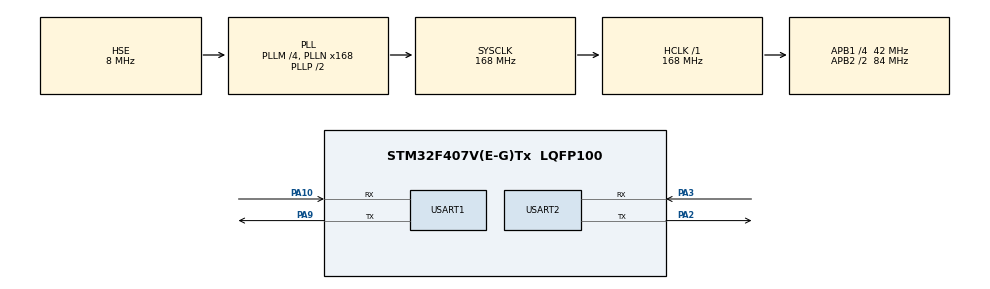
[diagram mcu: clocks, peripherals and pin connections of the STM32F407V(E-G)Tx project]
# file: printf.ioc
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Mcu.Family=STM32F4
Mcu.Name=STM32F407V(E-G)Tx
Mcu.Package=LQFP100
NVIC.PriorityGroup=NVIC_PRIORITYGROUP_4
NVIC.USART1_IRQn=true\:0\:0\:false\:false\:true\:true\:true
PA10.Mode=Asynchronous
PA10.Signal=USART1_RX
PA13.Mode=Serial_Wire
PA13.Signal=SYS_JTMS-SWDIO
PA14.Mode=Serial_Wire
PA14.Signal=SYS_JTCK-SWCLK
PA2.Mode=Asynchronous
PA2.Signal=USART2_TX
PA3.Mode=Asynchronous
PA3.Signal=USART2_RX
PA9.Mode=Asynchronous
PA9.Signal=USART1_TX
PH0-OSC_IN.Mode=HSE-External-Oscillator
PH0-OSC_IN.Signal=RCC_OSC_IN
PH1-OSC_OUT.Mode=HSE-External-Oscillator
PH1-OSC_OUT.Signal=RCC_OSC_OUT
ProjectManager.HeapSize=0x200
ProjectManager.StackSize=0x400
ProjectManager.TargetToolchain=MDK-ARM V5.32
RCC.48MHZClocksFreq_Value=84000000
RCC.AHBFreq_Value=168000000
RCC.APB1CLKDivider=RCC_HCLK_DIV4
RCC.APB1Freq_Value=42000000
RCC.APB1TimFreq_Value=84000000
RCC.APB2CLKDivider=RCC_HCLK_DIV2
RCC.APB2Freq_Value=84000000
RCC.APB2TimFreq_Value=168000000
RCC.CortexFreq_Value=168000000
RCC.HCLKFreq_Value=168000000
RCC.HSE_VALUE=8000000
RCC.HSI_VALUE=16000000
RCC.LSE_VALUE=32768
RCC.PLLM=4
RCC.PLLN=168
RCC.PLLSourceVirtual=RCC_PLLSOURCE_HSE
RCC.SYSCLKFreq_VALUE=168000000
RCC.SYSCLKSource=RCC_SYSCLKSOURCE_PLLCLK
RCC.VCOOutputFreq_Value=336000000
USART1.VirtualMode=VM_ASYNC
USART2.VirtualMode=VM_ASYNC
board=custom

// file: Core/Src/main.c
/* USER CODE BEGIN Header */
/**
  ******************************************************************************
  * @file           : main.c
  * @brief          : Main program body
  ******************************************************************************
  * @attention
  *
  * <h2><center>&copy; Copyright (c) 2022 STMicroelectronics.
  * All rights reserved.</center></h2>
  *
  * This software component is licensed by ST under BSD 3-Clause license,
  * the "License"; You may not use this file except in compliance with the
  * License. You may obtain a copy of the License at:
  *                        opensource.org/licenses/BSD-3-Clause
  *
  ******************************************************************************
  */
/* USER CODE END Header */
#include "main.h"
#include "usart.h"
#include "gpio.h"

/* USER CODE BEGIN Includes */
#include "stdio.h"
/* USER CODE END Includes */

/* USER CODE BEGIN PTD */
/* CRC 高位字节值表 */
const uint8_t auchCRCHi[] = {
 0x00, 0xC1, 0x81, 0x40, 0x01, 0xC0, 0x80, 0x41, 0x01, 0xC0,
 0x80, 0x41, 0x00, 0xC1, 0x81, 0x40, 0x01, 0xC0, 0x80, 0x41,
 0x00, 0xC1, 0x81, 0x40, 0x00, 0xC1, 0x81, 0x40, 0x01, 0xC0,
 0x80, 0x41, 0x01, 0xC0, 0x80, 0x41, 0x00, 0xC1, 0x81, 0x40,
 0x00, 0xC1, 0x81, 0x40, 0x01, 0xC0, 0x80, 0x41, 0x00, 0xC1,
 0x81, 0x40, 0x01, 0xC0, 0x80, 0x41, 0x01, 0xC0, 0x80, 0x41,
 0x00, 0xC1, 0x81, 0x40, 0x01, 0xC0, 0x80, 0x41, 0x00, 0xC1,
 0x81, 0x40, 0x00, 0xC1, 0x81, 0x40, 0x01, 0xC0, 0x80, 0x41,
 0x00, 0xC1, 0x81, 0x40, 0x01, 0xC0, 0x80, 0x41, 0x01, 0xC0,
 0x80, 0x41, 0x00, 0xC1, 0x81, 0x40, 0x00, 0xC1, 0x81, 0x40,
 0x01, 0xC0, 0x80, 0x41, 0x01, 0xC0, 0x80, 0x41, 0x00, 0xC1,
 0x81, 0x40, 0x01, 0xC0, 0x80, 0x41, 0x00, 0xC1, 0x81, 0x40,
 0x00, 0xC1, 0x81, 0x40, 0x01, 0xC0, 0x80, 0x41, 0x01, 0xC0,
 0x80, 0x41, 0x00, 0xC1, 0x81, 0x40, 0x00, 0xC1, 0x81, 0x40,
 0x01, 0xC0, 0x80, 0x41, 0x00, 0xC1, 0x81, 0x40, 0x01, 0xC0,
 0x80, 0x41, 0x01, 0xC0, 0x80, 0x41, 0x00, 0xC1, 0x81, 0x40,
 0x00, 0xC1, 0x81, 0x40, 0x01, 0xC0, 0x80, 0x41, 0x01, 0xC0,
 0x80, 0x41, 0x00, 0xC1, 0x81, 0x40, 0x01, 0xC0, 0x80, 0x41,
 0x00, 0xC1, 0x81, 0x40, 0x00, 0xC1, 0x81, 0x40, 0x01, 0xC0,
 0x80, 0x41, 0x00, 0xC1, 0x81, 0x40, 0x01, 0xC0, 0x80, 0x41,
 0x01, 0xC0, 0x80, 0x41, 0x00, 0xC1, 0x81, 0x40, 0x01, 0xC0,
 0x80, 0x41, 0x00, 0xC1, 0x81, 0x40, 0x00, 0xC1, 0x81, 0x40,
 0x01, 0xC0, 0x80, 0x41, 0x01, 0xC0, 0x80, 0x41, 0x00, 0xC1,
 0x81, 0x40, 0x00, 0xC1, 0x81, 0x40, 0x01, 0xC0, 0x80, 0x41,
 0x00, 0xC1, 0x81, 0x40, 0x01, 0xC0, 0x80, 0x41, 0x01, 0xC0,
 0x80, 0x41, 0x00, 0xC1, 0x81, 0x40
} ;
/* CRC 低位字节值表*/
const uint8_t auchCRCLo[] = {
 0x00, 0xC0, 0xC1, 0x01, 0xC3, 0x03, 0x02, 0xC2, 0xC6, 0x06,
 0x07, 0xC7, 0x05, 0xC5, 0xC4, 0x04, 0xCC, 0x0C, 0x0D, 0xCD,
 0x0F, 0xCF, 0xCE, 0x0E, 0x0A, 0xCA, 0xCB, 0x0B, 0xC9, 0x09,
 0x08, 0xC8, 0xD8, 0x18, 0x19, 0xD9, 0x1B, 0xDB, 0xDA, 0x1A,
 0x1E, 0xDE, 0xDF, 0x1F, 0xDD, 0x1D, 0x1C, 0xDC, 0x14, 0xD4,
 0xD5, 0x15, 0xD7, 0x17, 0x16, 0xD6, 0xD2, 0x12, 0x13, 0xD3,
 0x11, 0xD1, 0xD0, 0x10, 0xF0, 0x30, 0x31, 0xF1, 0x33, 0xF3,
 0xF2, 0x32, 0x36, 0xF6, 0xF7, 0x37, 0xF5, 0x35, 0x34, 0xF4,
 0x3C, 0xFC, 0xFD, 0x3D, 0xFF, 0x3F, 0x3E, 0xFE, 0xFA, 0x3A,
 0x3B, 0xFB, 0x39, 0xF9, 0xF8, 0x38, 0x28, 0xE8, 0xE9, 0x29,
 0xEB, 0x2B, 0x2A, 0xEA, 0xEE, 0x2E, 0x2F, 0xEF, 0x2D, 0xED,
 0xEC, 0x2C, 0xE4, 0x24, 0x25, 0xE5, 0x27, 0xE7, 0xE6, 0x26,
 0x22, 0xE2, 0xE3, 0x23, 0xE1, 0x21, 0x20, 0xE0, 0xA0, 0x60,
 0x61, 0xA1, 0x63, 0xA3, 0xA2, 0x62, 0x66, 0xA6, 0xA7, 0x67,
 0xA5, 0x65, 0x64, 0xA4, 0x6C, 0xAC, 0xAD, 0x6D, 0xAF, 0x6F,
 0x6E, 0xAE, 0xAA, 0x6A, 0x6B, 0xAB, 0x69, 0xA9, 0xA8, 0x68,
 0x78, 0xB8, 0xB9, 0x79, 0xBB, 0x7B, 0x7A, 0xBA, 0xBE, 0x7E,
 0x7F, 0xBF, 0x7D, 0xBD, 0xBC, 0x7C, 0xB4, 0x74, 0x75, 0xB5,
 0x77, 0xB7, 0xB6, 0x76, 0x72, 0xB2, 0xB3, 0x73, 0xB1, 0x71,
 0x70, 0xB0, 0x50, 0x90, 0x91, 0x51, 0x93, 0x53, 0x52, 0x92,
 0x96, 0x56, 0x57, 0x97, 0x55, 0x95, 0x94, 0x54, 0x9C, 0x5C,
 0x5D, 0x9D, 0x5F, 0x9F, 0x9E, 0x5E, 0x5A, 0x9A, 0x9B, 0x5B,
 0x99, 0x59, 0x58, 0x98, 0x88, 0x48, 0x49, 0x89, 0x4B, 0x8B,
 0x8A, 0x4A, 0x4E, 0x8E, 0x8F, 0x4F, 0x8D, 0x4D, 0x4C, 0x8C,
 0x44, 0x84, 0x85, 0x45, 0x87, 0x47, 0x46, 0x86, 0x82, 0x42,
 0x43, 0x83, 0x41, 0x81, 0x80, 0x40
} ;
//====================================================================
// 函数返回值是无符号短整型 CRC 值
// 待进行 CRC 校验计算的报文
// 待校验的报文长度
//====================================================================
uint8_t x[9] = {0x01, 0x03, 0x04, 0x00, 0x00, 0xE0, 0xA1, 0x72, 0x4B};
uint16_t CRC16(uint8_t *Start_Byte, uint16_t Num_Bytes)
{
 uint8_t uchCRCHi = 0xFF; // CRC 低字节的初始化
 uint8_t uchCRCLo = 0xFF; // CRC 高字节的初始化
 uint16_t uIndex; // CRC 查找表的指针
 while (Num_Bytes--)
 {
 uIndex = uchCRCLo ^ *Start_Byte++; // 计算 CRC
 uchCRCLo = uchCRCHi ^ auchCRCHi[uIndex];
 uchCRCHi = auchCRCLo[uIndex];
 printf("i = %02x\r\n",uchCRCHi);
 printf("h = %02x\r\n",uchCRCLo);
 }
return (uchCRCLo <<8 | uchCRCHi);
}
/* USER CODE END PTD */

void SystemClock_Config(void);

int main(void)
{

  /* MCU Configuration--------------------------------------------------------*/

  /* Reset of all peripherals, Initializes the Flash interface and the Systick. */
  HAL_Init();

  /* Configure the system clock */
  SystemClock_Config();

  /* Initialize all configured peripherals */
  MX_GPIO_Init();
  MX_USART1_UART_Init();
  MX_USART2_UART_Init();
  /* USER CODE BEGIN 2 */
	uint16_t m = CRC16((uint8_t *)x,7);
	printf("m = %02x\r\n",m);
  /* USER CODE END 2 */

  /* Infinite loop */
  while (1)
  {

  }
}

void SystemClock_Config(void)
{
  RCC_OscInitTypeDef RCC_OscInitStruct = {0};
  RCC_ClkInitTypeDef RCC_ClkInitStruct = {0};

  /** Configure the main internal regulator output voltage
  */
  __HAL_RCC_PWR_CLK_ENABLE();
  __HAL_PWR_VOLTAGESCALING_CONFIG(PWR_REGULATOR_VOLTAGE_SCALE1);
  /** Initializes the RCC Oscillators according to the specified parameters
  * in the RCC_OscInitTypeDef structure.
  */
  RCC_OscInitStruct.OscillatorType = RCC_OSCILLATORTYPE_HSE;
  RCC_OscInitStruct.HSEState = RCC_HSE_ON;
  RCC_OscInitStruct.PLL.PLLState = RCC_PLL_ON;
  RCC_OscInitStruct.PLL.PLLSource = RCC_PLLSOURCE_HSE;
  RCC_OscInitStruct.PLL.PLLM = 4;
  RCC_OscInitStruct.PLL.PLLN = 168;
  RCC_OscInitStruct.PLL.PLLP = RCC_PLLP_DIV2;
  RCC_OscInitStruct.PLL.PLLQ = 4;
  if (HAL_RCC_OscConfig(&RCC_OscInitStruct) != HAL_OK)
  {
    Error_Handler();
  }
  /** Initializes the CPU, AHB and APB buses clocks
  */
  RCC_ClkInitStruct.ClockType = RCC_CLOCKTYPE_HCLK|RCC_CLOCKTYPE_SYSCLK
                              |RCC_CLOCKTYPE_PCLK1|RCC_CLOCKTYPE_PCLK2;
  RCC_ClkInitStruct.SYSCLKSource = RCC_SYSCLKSOURCE_PLLCLK;
  RCC_ClkInitStruct.AHBCLKDivider = RCC_SYSCLK_DIV1;
  RCC_ClkInitStruct.APB1CLKDivider = RCC_HCLK_DIV4;
  RCC_ClkInitStruct.APB2CLKDivider = RCC_HCLK_DIV2;

  if (HAL_RCC_ClockConfig(&RCC_ClkInitStruct, FLASH_LATENCY_5) != HAL_OK)
  {
    Error_Handler();
  }
}

/* USER CODE BEGIN 4 */
int fputc(int ch, FILE *f) {
	HAL_UART_Transmit(&huart1, (uint8_t *)&ch, 1, 0xFFFF);
	return ch;
}

/* USER CODE END 4 */

void Error_Handler(void)
{
  __disable_irq();
  while (1)
  {
  }
}

/************************ (C) COPYRIGHT STMicroelectronics *****END OF FILE****/
